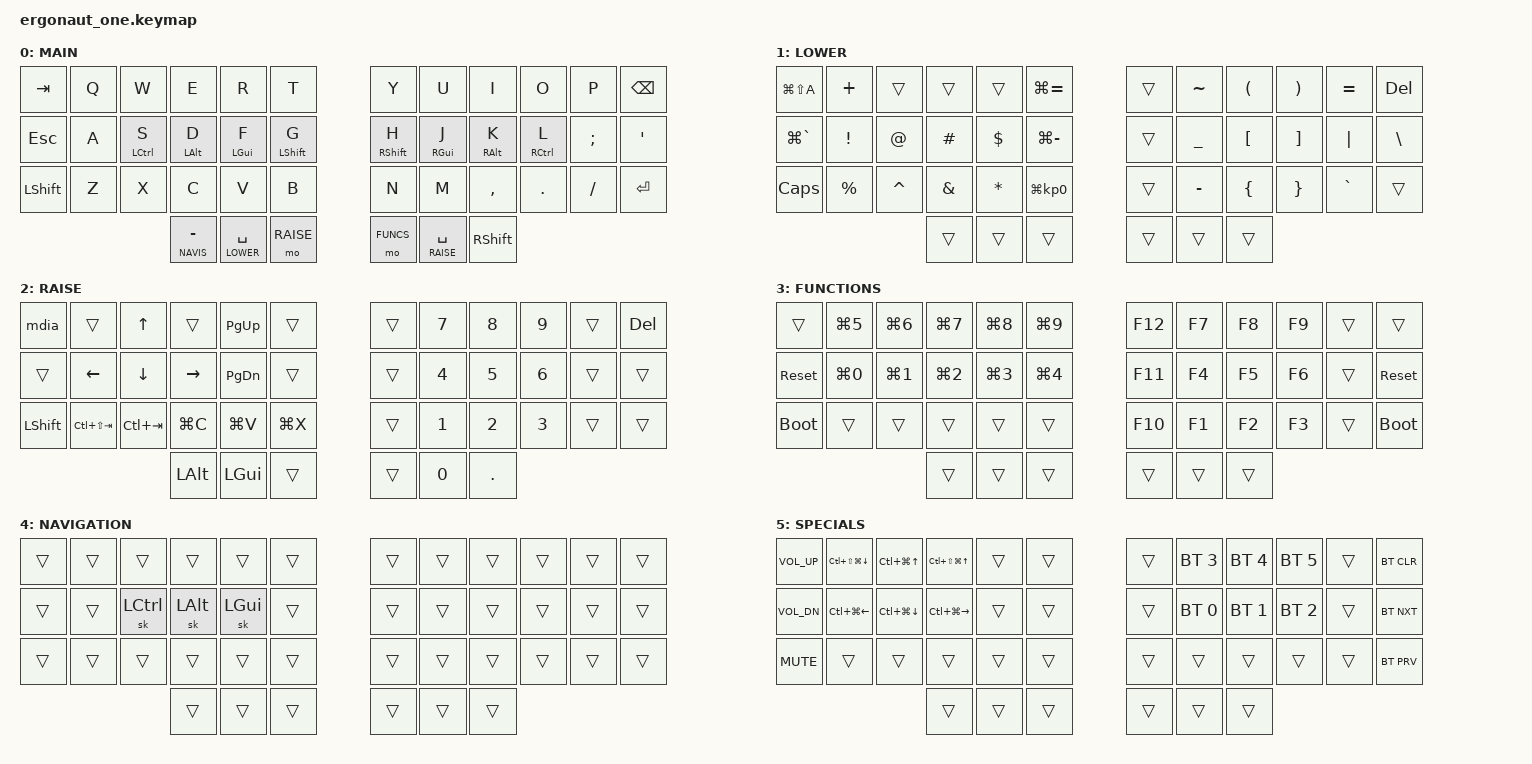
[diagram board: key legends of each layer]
#define ZMK_POINTING_DEFAULT_MOVE_VAL 1500  // default: 600
#define ZMK_POINTING_DEFAULT_SCRL_VAL 20    // default: 10
#define DEFLT 0
#define LOWER 1
#define RAISE 2
#define FUNCS 3
#define NAVIS 4
#define SPECL 5

#include <behaviors.dtsi>
#include <dt-bindings/zmk/keys.h>
#include <dt-bindings/zmk/bt.h>
#include <dt-bindings/zmk/pointing.h>

/ {
        behaviors {
                hm: homerow_mods {
                        compatible = "zmk,behavior-hold-tap";
                        #binding-cells = <2>;
                        tapping-term-ms = <150>;
                        quick-tap-ms = <0>;
                        flavor = "tap-preferred";
                        bindings = <&kp>, <&kp>;
                };
                mdia: tap_dance_media {
                        compatible = "zmk,behavior-tap-dance";
                        #binding-cells = <0>;
                        tapping-term-ms = <200>;
                        bindings = <&kp C_PLAY>, <&kp C_NEXT>, <&kp C_PREV>;
                };
                sft_cwd: tap_dance_caps_word {
                        compatible = "zmk,behavior-tap-dance";
                        #binding-cells = <0>;
                        tapping-term-ms = <250>;
                        bindings = <&kp LSHFT>, <&caps_word>;
                };
        };

        conditional_layers {
                compatible = "zmk,conditional-layers";
                tri_layer {
                        if-layers = <RAISE FUNCS>;
                        then-layer = <SPECL>;
                };
        };

        keymap {
                compatible = "zmk,keymap";
                default {
                        display-name = "MAIN";
                        bindings = <
/*      --------------------,--------------------,--------------------,--------------------,--------------------,--------------------,--------------------,--------------------,--------------------,--------------------,--------------------,--------------------,-------------------- */
        &kp TAB              &kp Q                &kp W                &kp E                &kp R                &kp T                                     &kp Y                &kp U                &kp I                &kp O                &kp P                &kp BSPC
        &kp ESC              &kp A                &hm LCTRL S          &hm LALT D           &hm LGUI F           &hm LSHFT G                               &hm RSHFT H          &hm RGUI J           &hm RALT K           &hm RCTRL L          &kp SEMI             &kp SQT
        &kp LSHFT            &kp Z                &kp X                &kp C                &kp V                &kp B                                     &kp N                &kp M                &kp COMMA            &kp DOT              &kp FSLH             &kp ENTER
                                                                       &lt NAVIS MINUS      &lt LOWER SPACE      &mo RAISE                                 &mo FUNCS            &lt RAISE SPACE      &kp RSHFT
                        >;
                };
                lower {
                        display-name = "LOWER";
                        bindings = <
/*      --------------------,--------------------,--------------------,--------------------,--------------------,--------------------,--------------------,--------------------,--------------------,--------------------,--------------------,--------------------,-------------------- */
        &kp LG(LS(A))        &kp PLUS             &trans               &trans               &trans               &kp LG(EQUAL)                             &trans               &kp TILDE            &kp LPAR             &kp RPAR             &kp EQUAL            &kp DEL
        &kp LG(GRAVE)        &kp EXCL             &kp AT               &kp HASH             &kp DOLLAR           &kp LG(MINUS)                             &trans               &kp UNDER            &kp LEFT_BRACKET     &kp RIGHT_BRACKET    &kp PIPE             &kp BACKSLASH
        &kp CAPS             &kp PERCENT          &kp CARET            &kp AMPERSAND        &kp ASTERISK         &kp LG(KP_N0)                             &trans               &kp MINUS            &kp LEFT_BRACE       &kp RIGHT_BRACE      &kp GRAVE            &trans     
                                                                       &trans               &trans               &trans                                    &trans               &trans               &trans
                        >;
                };
                raise {
                        display-name = "RAISE";
                        bindings = <
/*      --------------------,--------------------,--------------------,--------------------,--------------------,--------------------,--------------------,--------------------,--------------------,--------------------,--------------------,--------------------,-------------------- */
        &mdia                &trans               &kp UP               &trans               &kp PAGE_UP          &trans                                    &trans               &kp N7               &kp N8               &kp N9               &trans               &kp DEL       
        &trans               &kp LEFT             &kp DOWN             &kp RIGHT            &kp PAGE_DOWN        &trans                                    &trans               &kp N4               &kp N5               &kp N6               &trans               &trans       
        &kp LSHFT            &kp LC(LS(TAB))      &kp LC(TAB)          &kp LG(C)            &kp LG(V)            &kp LG(X)                                 &trans               &kp N1               &kp N2               &kp N3               &trans               &trans       
                                                                       &kp LALT             &kp LGUI             &trans                                    &trans               &kp N0               &kp DOT
                        >;
                };
                functions {
                        display-name = "FUNCTIONS";
                        bindings = <
/*      --------------------,--------------------,--------------------,--------------------,--------------------,--------------------,--------------------,--------------------,--------------------,--------------------,--------------------,--------------------,-------------------- */
        &trans               &kp LG(N5)           &kp LG(N6)           &kp LG(N7)           &kp LG(N8)           &kp LG(N9)                                &kp F12              &kp F7               &kp F8               &kp F9               &trans               &trans
        &sys_reset           &kp LG(N0)           &kp LG(N1)           &kp LG(N2)           &kp LG(N3)           &kp LG(N4)                                &kp F11              &kp F4               &kp F5               &kp F6               &trans               &sys_reset
        &bootloader          &trans               &trans               &trans               &trans               &trans                                    &kp F10              &kp F1               &kp F2               &kp F3               &trans               &bootloader
                                                                       &trans               &trans               &trans                                    &trans               &trans               &trans
                        >;
                };
                navigation {
                        display-name = "NAVIGATION";
                        bindings = <
/*      --------------------,--------------------,--------------------,--------------------,--------------------,--------------------,--------------------,--------------------,--------------------,--------------------,--------------------,--------------------,-------------------- */           
        &trans               &trans               &trans               &trans               &trans               &trans                                    &trans               &trans               &trans               &trans               &trans               &trans
        &trans               &trans               &sk LCTRL            &sk LALT             &sk LGUI             &trans                                    &trans               &trans               &trans               &trans               &trans               &trans
        &trans               &trans               &trans               &trans               &trans               &trans                                    &trans               &trans               &trans               &trans               &trans               &trans
                                                                       &trans               &trans               &trans                                    &trans               &trans               &trans
                        >;
                };
                specials {
                        display-name = "SPECIALS";
                        bindings = <
/*      --------------------,--------------------,--------------------,--------------------,--------------------,--------------------,--------------------,--------------------,--------------------,--------------------,--------------------,--------------------,-------------------- */
        &kp C_VOL_UP         &kp LC(LS(LG(DOWN))) &kp LC(LG(UP))       &kp LC(LS(LG(UP)))   &trans               &trans                                    &trans               &bt BT_SEL 3         &bt BT_SEL 4         &bt BT_SEL 5         &trans               &bt BT_CLR
        &kp C_VOL_DN         &kp LC(LG(LEFT))     &kp LC(LG(DOWN))     &kp LC(LG(RIGHT))    &trans               &trans                                    &trans               &bt BT_SEL 0         &bt BT_SEL 1         &bt BT_SEL 2         &trans               &bt BT_NXT
        &kp C_MUTE           &trans               &trans               &trans               &trans               &trans                                    &trans               &trans               &trans               &trans               &trans               &bt BT_PRV
                                                                       &trans               &trans               &trans                                    &trans               &trans               &trans
                        >;
                };
        };
};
